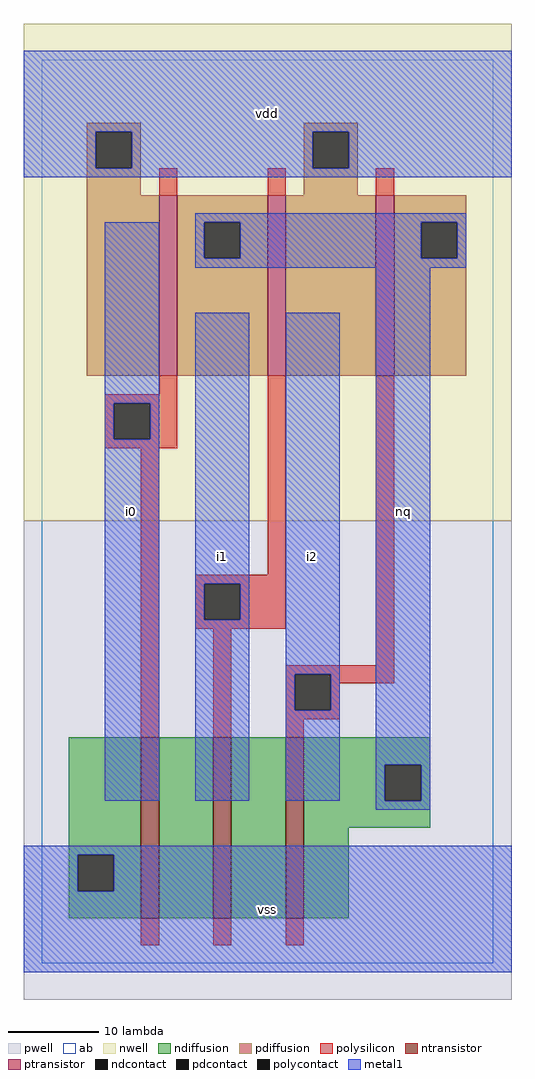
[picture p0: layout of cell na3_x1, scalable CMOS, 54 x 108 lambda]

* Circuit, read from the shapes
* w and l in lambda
.subckt na3_x1 i0 i1 i2 nq vdd vss
M1 n1 i0 vss VSUBS nfet w=20 l=2
M2 n2 i1 n1 VSUBS nfet w=20 l=2
M3 nq i2 n2 VSUBS nfet w=20 l=2
M4 nq i0 vdd n3 pfet w=20 l=2
M5 vdd i1 nq n3 pfet w=20 l=2
M6 nq i2 vdd n3 pfet w=20 l=2
.ends

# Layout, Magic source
magic
tech scmos
<< ab >>
rect 0 0 50 100
<< pwell >>
rect -2 -4 52 49
<< nwell >>
rect -2 49 52 104
<< polysilicon >>
rect 13 85 15 88
rect 25 85 27 88
rect 37 85 39 88
rect 13 63 15 65
rect 7 62 15 63
rect 7 58 8 62
rect 12 58 15 62
rect 7 57 15 58
rect 11 25 13 57
rect 25 43 27 65
rect 17 42 27 43
rect 17 38 18 42
rect 22 38 27 42
rect 17 37 27 38
rect 19 25 21 37
rect 37 33 39 65
rect 27 32 39 33
rect 27 28 28 32
rect 32 31 39 32
rect 32 28 33 31
rect 27 27 33 28
rect 27 25 29 27
rect 11 2 13 5
rect 19 2 21 5
rect 27 2 29 5
<< ndiffusion >>
rect 3 12 11 25
rect 3 8 4 12
rect 8 8 11 12
rect 3 5 11 8
rect 13 5 19 25
rect 21 5 27 25
rect 29 22 43 25
rect 29 18 38 22
rect 42 18 43 22
rect 29 15 43 18
rect 29 5 34 15
<< pdiffusion >>
rect 5 92 11 93
rect 5 88 6 92
rect 10 88 11 92
rect 29 92 35 93
rect 29 88 30 92
rect 34 88 35 92
rect 5 85 11 88
rect 29 85 35 88
rect 5 65 13 85
rect 15 82 25 85
rect 15 78 18 82
rect 22 78 25 82
rect 15 65 25 78
rect 27 65 37 85
rect 39 82 47 85
rect 39 78 42 82
rect 46 78 47 82
rect 39 65 47 78
<< metal1 >>
rect -2 92 52 101
rect -2 88 6 92
rect 10 88 30 92
rect 34 88 52 92
rect -2 87 52 88
rect 17 82 47 83
rect 7 62 13 82
rect 17 78 18 82
rect 22 78 42 82
rect 46 78 47 82
rect 17 77 47 78
rect 7 58 8 62
rect 12 58 13 62
rect 7 18 13 58
rect 17 42 23 72
rect 17 38 18 42
rect 22 38 23 42
rect 17 18 23 38
rect 27 32 33 72
rect 27 28 28 32
rect 32 28 33 32
rect 27 18 33 28
rect 37 22 43 77
rect 37 18 38 22
rect 42 18 43 22
rect 37 17 43 18
rect -2 12 52 13
rect -2 8 4 12
rect 8 8 52 12
rect -2 -1 52 8
<< ntransistor >>
rect 11 5 13 25
rect 19 5 21 25
rect 27 5 29 25
<< ptransistor >>
rect 13 65 15 85
rect 25 65 27 85
rect 37 65 39 85
<< polycontact >>
rect 8 58 12 62
rect 18 38 22 42
rect 28 28 32 32
<< ndcontact >>
rect 4 8 8 12
rect 38 18 42 22
<< pdcontact >>
rect 6 88 10 92
rect 30 88 34 92
rect 18 78 22 82
rect 42 78 46 82
<< labels >>
rlabel metal1 20 45 20 45 6 i1
rlabel metal1 20 45 20 45 6 i1
rlabel metal1 10 50 10 50 6 i0
rlabel metal1 10 50 10 50 6 i0
rlabel metal1 25 6 25 6 6 vss
rlabel metal1 25 6 25 6 6 vss
rlabel metal1 30 45 30 45 6 i2
rlabel metal1 30 45 30 45 6 i2
rlabel metal1 25 94 25 94 6 vdd
rlabel metal1 25 94 25 94 6 vdd
rlabel metal1 40 50 40 50 6 nq
rlabel metal1 40 50 40 50 6 nq
<< end >>
